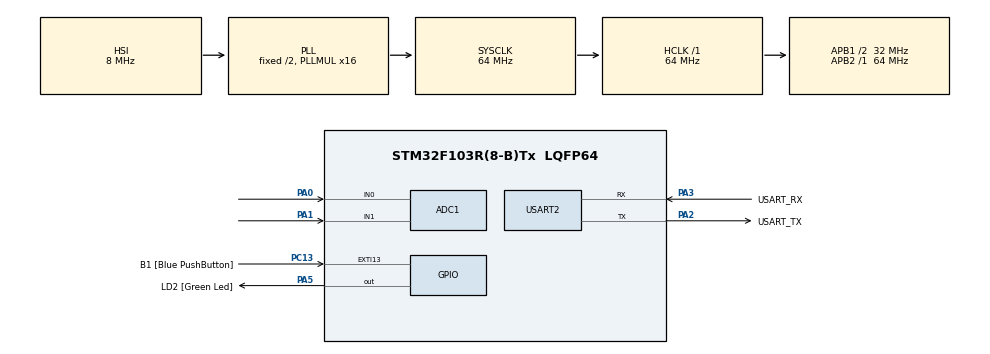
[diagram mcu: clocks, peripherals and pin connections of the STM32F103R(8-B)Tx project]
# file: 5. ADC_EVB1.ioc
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ADC1.Channel-0\#ChannelRegularConversion=ADC_CHANNEL_1
ADC1.Channel-1\#ChannelRegularConversion=ADC_CHANNEL_0
ADC1.ContinuousConvMode=ENABLE
ADC1.NbrOfConversion=2
ADC1.NbrOfConversionFlag=1
ADC1.Rank-0\#ChannelRegularConversion=1
ADC1.Rank-1\#ChannelRegularConversion=2
ADC1.SamplingTime-0\#ChannelRegularConversion=ADC_SAMPLETIME_13CYCLES_5
ADC1.SamplingTime-1\#ChannelRegularConversion=ADC_SAMPLETIME_13CYCLES_5
ADC1.master=1
Dma.ADC1.0.Direction=DMA_PERIPH_TO_MEMORY
Dma.ADC1.0.Instance=DMA1_Channel1
Dma.ADC1.0.MemDataAlignment=DMA_MDATAALIGN_HALFWORD
Dma.ADC1.0.MemInc=DMA_MINC_ENABLE
Dma.ADC1.0.Mode=DMA_CIRCULAR
Dma.ADC1.0.PeriphDataAlignment=DMA_PDATAALIGN_HALFWORD
Dma.ADC1.0.PeriphInc=DMA_PINC_DISABLE
Dma.ADC1.0.Priority=DMA_PRIORITY_LOW
Dma.Request0=ADC1
Mcu.Family=STM32F1
Mcu.Name=STM32F103R(8-B)Tx
Mcu.Package=LQFP64
NVIC.DMA1_Channel1_IRQn=true\:0\:0\:false\:false\:true\:false\:true\:true
NVIC.EXTI15_10_IRQn=true\:0\:0\:false\:false\:true\:true\:true\:true
NVIC.PriorityGroup=NVIC_PRIORITYGROUP_4
PA0-WKUP.Signal=ADCx_IN0
PA1.Signal=ADCx_IN1
PA13.GPIO_Label=TMS
PA13.Mode=Serial_Wire
PA13.Signal=SYS_JTMS-SWDIO
PA14.GPIO_Label=TCK
PA14.Mode=Serial_Wire
PA14.Signal=SYS_JTCK-SWCLK
PA2.GPIO_Label=USART_TX
PA2.GPIO_Mode=GPIO_MODE_AF_PP
PA2.GPIO_PuPd=GPIO_NOPULL
PA2.GPIO_Speed=GPIO_SPEED_FREQ_LOW
PA2.Mode=Asynchronous
PA2.Signal=USART2_TX
PA3.GPIO_Label=USART_RX
PA3.GPIO_Mode=GPIO_MODE_AF_PP
PA3.GPIO_PuPd=GPIO_NOPULL
PA3.GPIO_Speed=GPIO_SPEED_FREQ_LOW
PA3.Mode=Asynchronous
PA3.Signal=USART2_RX
PA5.GPIO_Label=LD2 [Green Led]
PA5.GPIO_ModeDefaultOutputPP=GPIO_MODE_OUTPUT_PP
PA5.GPIO_PuPd=GPIO_NOPULL
PA5.GPIO_Speed=GPIO_SPEED_FREQ_LOW
PA5.Signal=GPIO_Output
PB3.GPIO_Label=SWO
PB3.Signal=SYS_JTDO-TRACESWO
PC13-TAMPER-RTC.GPIO_Label=B1 [Blue PushButton]
PC13-TAMPER-RTC.GPIO_PuPd=GPIO_NOPULL
PC13-TAMPER-RTC.Signal=GPXTI13
PC14-OSC32_IN.Signal=RCC_OSC32_IN
PC15-OSC32_OUT.Signal=RCC_OSC32_OUT
PD0-OSC_IN.Signal=RCC_OSC_IN
PD1-OSC_OUT.Signal=RCC_OSC_OUT
ProjectManager.HeapSize=0x200
ProjectManager.StackSize=0x400
ProjectManager.TargetToolchain=STM32CubeIDE
RCC.ADCPresc=RCC_ADCPCLK2_DIV8
RCC.AHBFreq_Value=64000000
RCC.APB1CLKDivider=RCC_HCLK_DIV2
RCC.APB1Freq_Value=32000000
RCC.APB1TimFreq_Value=64000000
RCC.APB2Freq_Value=64000000
RCC.APB2TimFreq_Value=64000000
RCC.HCLKFreq_Value=64000000
RCC.PLLMUL=RCC_PLL_MUL16
RCC.RTCClockSelection=RCC_RTCCLKSOURCE_LSE
RCC.SYSCLKFreq_VALUE=64000000
RCC.SYSCLKSource=RCC_SYSCLKSOURCE_PLLCLK
RCC.USBFreq_Value=64000000
SH.ADCx_IN0.0=ADC1_IN0,IN0
SH.ADCx_IN1.0=ADC1_IN1,IN1
USART2.VirtualMode=VM_ASYNC
board=NUCLEO-F103RB

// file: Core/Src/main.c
/* USER CODE BEGIN Header */
/**
  ******************************************************************************
  * @file           : main.c
  * @brief          : Main program body
  ******************************************************************************
  * @attention
  *
  * Copyright (c) 2025 STMicroelectronics.
  * All rights reserved.
  *
  * This software is licensed under terms that can be found in the LICENSE file
  * in the root directory of this software component.
  * If no LICENSE file comes with this software, it is provided AS-IS.
  *
  ******************************************************************************
  */
/* USER CODE END Header */
#include "main.h"

/* USER CODE BEGIN Includes */
#include <stdio.h>
/* USER CODE END Includes */

ADC_HandleTypeDef hadc1;
DMA_HandleTypeDef hdma_adc1;

UART_HandleTypeDef huart2;

void SystemClock_Config(void);
static void MX_GPIO_Init(void);
static void MX_DMA_Init(void);
static void MX_USART2_UART_Init(void);
static void MX_ADC1_Init(void);

/* USER CODE BEGIN 0 */
#ifdef __GNUC__
#define PUTCHAR_PROTOTYPE int __io_putchar(int ch)
#else
#define PUTCHAR_PROTOTYPE int fputc(int ch, FILE *f)
#endif

PUTCHAR_PROTOTYPE
{
	if (ch == '\n')
		HAL_UART_Transmit(&huart2, (uint8_t*) "\r", 1, 0xFFFF);
	HAL_UART_Transmit(&huart2, (uint8_t*) &ch, 1, 0xFFFF);

	return ch;
}
/* USER CODE END 0 */

int main(void)
{

  /* MCU Configuration--------------------------------------------------------*/

  /* Reset of all peripherals, Initializes the Flash interface and the Systick. */
  HAL_Init();

  /* Configure the system clock */
  SystemClock_Config();

  /* Initialize all configured peripherals */
  MX_GPIO_Init();
  MX_DMA_Init();
  MX_USART2_UART_Init();
  MX_ADC1_Init();

  /* Infinite loop */
  /* USER CODE BEGIN WHILE */

  uint16_t ADC_Val[2];

  if (HAL_ADCEx_Calibration_Start(&hadc1) != HAL_OK)
	  Error_Handler();

  if (HAL_ADC_Start_DMA(&hadc1, (uint32_t*)ADC_Val, 2) != HAL_OK)
	  Error_Handler();

  while (1)
  {
    /* USER CODE END WHILE */

    /* USER CODE BEGIN 3 */

	  printf("VAR: %4d | CDS: %4d\n", ADC_Val[0], ADC_Val[1]);
	  HAL_Delay(100);
  }
  /* USER CODE END 3 */
}

void SystemClock_Config(void)
{
  RCC_OscInitTypeDef RCC_OscInitStruct = {0};
  RCC_ClkInitTypeDef RCC_ClkInitStruct = {0};
  RCC_PeriphCLKInitTypeDef PeriphClkInit = {0};

  /** Initializes the RCC Oscillators according to the specified parameters
  * in the RCC_OscInitTypeDef structure.
  */
  RCC_OscInitStruct.OscillatorType = RCC_OSCILLATORTYPE_HSI;
  RCC_OscInitStruct.HSIState = RCC_HSI_ON;
  RCC_OscInitStruct.HSICalibrationValue = RCC_HSICALIBRATION_DEFAULT;
  RCC_OscInitStruct.PLL.PLLState = RCC_PLL_ON;
  RCC_OscInitStruct.PLL.PLLSource = RCC_PLLSOURCE_HSI_DIV2;
  RCC_OscInitStruct.PLL.PLLMUL = RCC_PLL_MUL16;
  if (HAL_RCC_OscConfig(&RCC_OscInitStruct) != HAL_OK)
  {
    Error_Handler();
  }

  /** Initializes the CPU, AHB and APB buses clocks
  */
  RCC_ClkInitStruct.ClockType = RCC_CLOCKTYPE_HCLK|RCC_CLOCKTYPE_SYSCLK
                              |RCC_CLOCKTYPE_PCLK1|RCC_CLOCKTYPE_PCLK2;
  RCC_ClkInitStruct.SYSCLKSource = RCC_SYSCLKSOURCE_PLLCLK;
  RCC_ClkInitStruct.AHBCLKDivider = RCC_SYSCLK_DIV1;
  RCC_ClkInitStruct.APB1CLKDivider = RCC_HCLK_DIV2;
  RCC_ClkInitStruct.APB2CLKDivider = RCC_HCLK_DIV1;

  if (HAL_RCC_ClockConfig(&RCC_ClkInitStruct, FLASH_LATENCY_2) != HAL_OK)
  {
    Error_Handler();
  }
  PeriphClkInit.PeriphClockSelection = RCC_PERIPHCLK_ADC;
  PeriphClkInit.AdcClockSelection = RCC_ADCPCLK2_DIV8;
  if (HAL_RCCEx_PeriphCLKConfig(&PeriphClkInit) != HAL_OK)
  {
    Error_Handler();
  }
}

static void MX_ADC1_Init(void)
{

  ADC_ChannelConfTypeDef sConfig = {0};

  /** Common config
  */
  hadc1.Instance = ADC1;
  hadc1.Init.ScanConvMode = ADC_SCAN_ENABLE;
  hadc1.Init.ContinuousConvMode = ENABLE;
  hadc1.Init.DiscontinuousConvMode = DISABLE;
  hadc1.Init.ExternalTrigConv = ADC_SOFTWARE_START;
  hadc1.Init.DataAlign = ADC_DATAALIGN_RIGHT;
  hadc1.Init.NbrOfConversion = 2;
  if (HAL_ADC_Init(&hadc1) != HAL_OK)
  {
    Error_Handler();
  }

  /** Configure Regular Channel
  */
  sConfig.Channel = ADC_CHANNEL_1;
  sConfig.Rank = ADC_REGULAR_RANK_1;
  sConfig.SamplingTime = ADC_SAMPLETIME_13CYCLES_5;
  if (HAL_ADC_ConfigChannel(&hadc1, &sConfig) != HAL_OK)
  {
    Error_Handler();
  }

  /** Configure Regular Channel
  */
  sConfig.Channel = ADC_CHANNEL_0;
  sConfig.Rank = ADC_REGULAR_RANK_2;
  if (HAL_ADC_ConfigChannel(&hadc1, &sConfig) != HAL_OK)
  {
    Error_Handler();
  }

}

static void MX_USART2_UART_Init(void)
{

  huart2.Instance = USART2;
  huart2.Init.BaudRate = 115200;
  huart2.Init.WordLength = UART_WORDLENGTH_8B;
  huart2.Init.StopBits = UART_STOPBITS_1;
  huart2.Init.Parity = UART_PARITY_NONE;
  huart2.Init.Mode = UART_MODE_TX_RX;
  huart2.Init.HwFlowCtl = UART_HWCONTROL_NONE;
  huart2.Init.OverSampling = UART_OVERSAMPLING_16;
  if (HAL_UART_Init(&huart2) != HAL_OK)
  {
    Error_Handler();
  }

}

static void MX_DMA_Init(void)
{

  /* DMA controller clock enable */
  __HAL_RCC_DMA1_CLK_ENABLE();

  /* DMA interrupt init */
  /* DMA1_Channel1_IRQn interrupt configuration */
  HAL_NVIC_SetPriority(DMA1_Channel1_IRQn, 0, 0);
  HAL_NVIC_EnableIRQ(DMA1_Channel1_IRQn);

}

static void MX_GPIO_Init(void)
{
  GPIO_InitTypeDef GPIO_InitStruct = {0};

  /* GPIO Ports Clock Enable */
  __HAL_RCC_GPIOC_CLK_ENABLE();
  __HAL_RCC_GPIOD_CLK_ENABLE();
  __HAL_RCC_GPIOA_CLK_ENABLE();
  __HAL_RCC_GPIOB_CLK_ENABLE();

  /*Configure GPIO pin Output Level */
  HAL_GPIO_WritePin(LD2_GPIO_Port, LD2_Pin, GPIO_PIN_RESET);

  /*Configure GPIO pin : B1_Pin */
  GPIO_InitStruct.Pin = B1_Pin;
  GPIO_InitStruct.Mode = GPIO_MODE_IT_RISING;
  GPIO_InitStruct.Pull = GPIO_NOPULL;
  HAL_GPIO_Init(B1_GPIO_Port, &GPIO_InitStruct);

  /*Configure GPIO pin : LD2_Pin */
  GPIO_InitStruct.Pin = LD2_Pin;
  GPIO_InitStruct.Mode = GPIO_MODE_OUTPUT_PP;
  GPIO_InitStruct.Pull = GPIO_NOPULL;
  GPIO_InitStruct.Speed = GPIO_SPEED_FREQ_LOW;
  HAL_GPIO_Init(LD2_GPIO_Port, &GPIO_InitStruct);

  /* EXTI interrupt init*/
  HAL_NVIC_SetPriority(EXTI15_10_IRQn, 0, 0);
  HAL_NVIC_EnableIRQ(EXTI15_10_IRQn);

}

void Error_Handler(void)
{
  __disable_irq();
  while (1)
  {
  }
}
